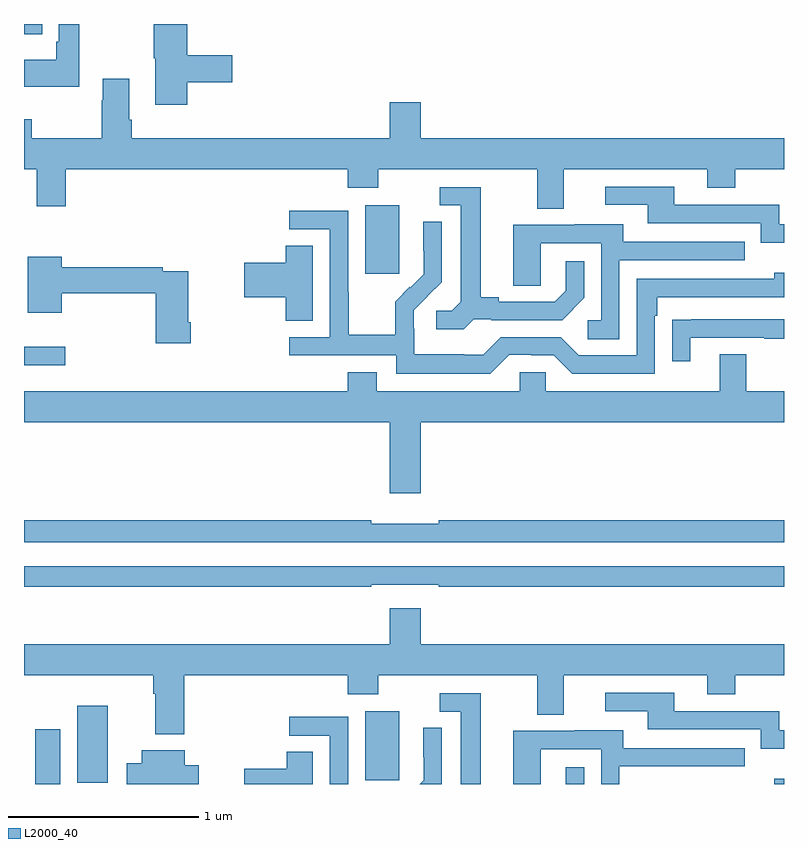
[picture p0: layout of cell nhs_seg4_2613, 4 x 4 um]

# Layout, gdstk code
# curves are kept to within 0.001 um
import gdstk
lib = gdstk.Library(unit=1e-6, precision=1e-09)
def R(c, l, rs):  # rectangles x0, y0, x1, y1
    for r in rs: c.add(gdstk.rectangle(r[:2], r[2:], *l))
def P(c, l, *ps):  # polygons
    for p in ps: c.add(gdstk.Polygon(p, *l))
L2000_40 = (2000, 40)

nhs_seg4_2613 = lib.new_cell('nhs_seg4_2613')
R(nhs_seg4_2613, L2000_40, [(247.058,810.9,247.192,811.189), (249.851,810.9,249.948,810.988), (250.949,810.9,251,810.928), (247.28,810.906,247.441,811.312), (248.795,810.921,248.974,811.282), (247,813.104,247.216,813.201), (248.795,813.585,248.974,813.946), (247,814.847,247.097,814.9)])
P(nhs_seg4_2613, L2000_40, [(247.291,814.9),(247.182,814.9),(247.182,814.807),(247.17,814.807),(247.17,814.711),(247,814.711),(247,814.571),(247.291,814.571)],
  [(247.859,814.594),(248.095,814.594),(248.095,814.736),(247.859,814.736),(247.859,814.9),(247.684,814.9),(247.684,814.719),(247.691,814.719),(247.691,814.476),(247.859,814.476)],
  [(249.841,814.136),(250.595,814.136),(250.595,814.037),(250.743,814.037),(250.743,814.136),(251,814.136),(251,814.3),(249.088,814.3),(249.088,814.489),(248.924,814.489),(248.924,814.3),(247.568,814.3),(247.568,814.396),(247.555,814.396),(247.555,814.612),(247.415,814.612),(247.415,814.499),(247.408,814.499),(247.408,814.3),(247.041,814.3),(247.041,814.399),(247,814.399),(247,814.136),(247.067,814.136),(247.067,813.942),(247.22,813.942),(247.22,814.136),(248.705,814.136),(248.705,814.037),(248.865,814.037),(248.865,814.136),(249.701,814.136),(249.701,813.928),(249.841,813.928)],
  [(251,813.846),(250.974,813.846),(250.974,813.948),(250.423,813.948),(250.423,814.044),(250.059,814.044),(250.059,813.948),(250.283,813.948),(250.283,813.852),(250.878,813.852),(250.878,813.749),(251,813.749)],
  [(249.366,813.345),(249.46,813.345),(249.46,813.342),(249.832,813.342),(249.948,813.458),(249.948,813.652),(249.851,813.652),(249.851,813.495),(249.794,813.438),(249.499,813.438),(249.499,813.461),(249.403,813.461),(249.403,814.041),(249.189,814.041),(249.189,813.945),(249.299,813.945),(249.299,813.437),(249.252,813.39),(249.171,813.39),(249.171,813.293),(249.314,813.293)],
  [(249.555,813.159),(249.671,813.159),(249.671,813.156),(249.789,813.156),(249.885,813.06),(250.32,813.06),(250.32,813.365),(250.333,813.365),(250.333,813.462),(251,813.462),(251,813.592),(250.949,813.592),(250.949,813.558),(250.224,813.558),(250.224,813.156),(249.921,813.156),(249.825,813.252),(249.51,813.252),(249.417,813.159),(249.317,813.159),(249.317,813.163),(249.054,813.163),(249.054,813.297),(249.052,813.297),(249.052,813.394),(249.198,813.542),(249.198,813.86),(249.102,813.86),(249.102,813.706),(249.104,813.706),(249.104,813.584),(249.033,813.513),(249.03,813.516),(248.953,813.439),(248.953,813.265),(248.709,813.265),(248.709,813.488),(248.706,813.488),(248.706,813.918),(248.397,813.918),(248.397,813.819),(248.61,813.819),(248.61,813.252),(248.397,813.252),(248.397,813.156),(248.958,813.156),(248.958,813.059),(249.455,813.059)],
  [(250.134,813.657),(250.793,813.657),(250.793,813.753),(250.153,813.753),(250.153,813.847),(249.899,813.847),(249.899,813.843),(249.575,813.843),(249.575,813.523),(249.72,813.523),(249.72,813.747),(250.038,813.747),(250.038,813.342),(249.966,813.342),(249.966,813.241),(250.134,813.241)],
  [(248.521,813.734),(248.378,813.734),(248.378,813.644),(248.16,813.644),(248.16,813.461),(248.378,813.461),(248.378,813.337),(248.521,813.337)],
  [(247.877,813.331),(247.864,813.331),(247.864,813.6),(247.73,813.6),(247.73,813.62),(247.198,813.62),(247.198,813.676),(247.019,813.676),(247.019,813.38),(247.198,813.38),(247.198,813.484),(247.694,813.484),(247.694,813.219),(247.877,813.219)],
  [(250.507,813.249),(250.897,813.249),(250.897,813.244),(251,813.244),(251,813.345),(250.513,813.345),(250.513,813.344),(250.411,813.344),(250.411,813.126),(250.507,813.126)],
  [(249.088,812.804),(251,812.804),(251,812.968),(250.801,812.968),(250.801,813.163),(250.661,813.163),(250.661,812.968),(249.747,812.968),(249.747,813.066),(249.609,813.066),(249.609,812.968),(248.857,812.968),(248.857,813.067),(248.705,813.067),(248.705,812.968),(247,812.968),(247,812.804),(248.924,812.804),(248.924,812.43),(249.088,812.43)],
  [(251,812.288),(249.184,812.288),(249.184,812.269),(248.828,812.269),(248.828,812.288),(247,812.288),(247,812.172),(251,812.172)],
  [(248.828,811.95),(249.184,811.95),(249.184,811.938),(251,811.938),(251,812.046),(247,812.046),(247,811.938),(248.828,811.938)],
  [(247.844,811.472),(248.705,811.472),(248.705,811.373),(248.865,811.373),(248.865,811.472),(249.701,811.472),(249.701,811.264),(249.841,811.264),(249.841,811.472),(250.595,811.472),(250.595,811.373),(250.743,811.373),(250.743,811.472),(251,811.472),(251,811.636),(249.088,811.636),(249.088,811.825),(248.924,811.825),(248.924,811.636),(247,811.636),(247,811.472),(247.679,811.472),(247.679,811.376),(247.691,811.376),(247.691,811.163),(247.844,811.163)],
  [(251,811.182),(250.974,811.182),(250.974,811.284),(250.423,811.284),(250.423,811.38),(250.059,811.38),(250.059,811.284),(250.283,811.284),(250.283,811.188),(250.878,811.188),(250.878,811.085),(251,811.085)],
  [(249.403,811.377),(249.189,811.377),(249.189,811.281),(249.299,811.281),(249.299,810.9),(249.403,810.9)],
  [(248.706,811.254),(248.397,811.254),(248.397,811.155),(248.61,811.155),(248.61,810.9),(248.706,810.9)],
  [(249.198,811.196),(249.102,811.196),(249.102,811.042),(249.104,811.042),(249.104,810.92),(249.084,810.9),(249.198,810.9)],
  [(249.72,811.083),(250.038,811.083),(250.038,810.9),(250.134,810.9),(250.134,810.993),(250.793,810.993),(250.793,811.089),(250.153,811.089),(250.153,811.183),(249.899,811.183),(249.899,811.179),(249.575,811.179),(249.575,810.9),(249.72,810.9)],
  [(247.921,811),(247.846,811),(247.846,811.078),(247.619,811.078),(247.619,811.008),(247.541,811.008),(247.541,810.9),(247.921,810.9)],
  [(248.521,811.07),(248.383,811.07),(248.383,810.98),(248.16,810.98),(248.16,810.9),(248.521,810.9)])

lib.write_gds('nhs_seg4_2613.gds')
